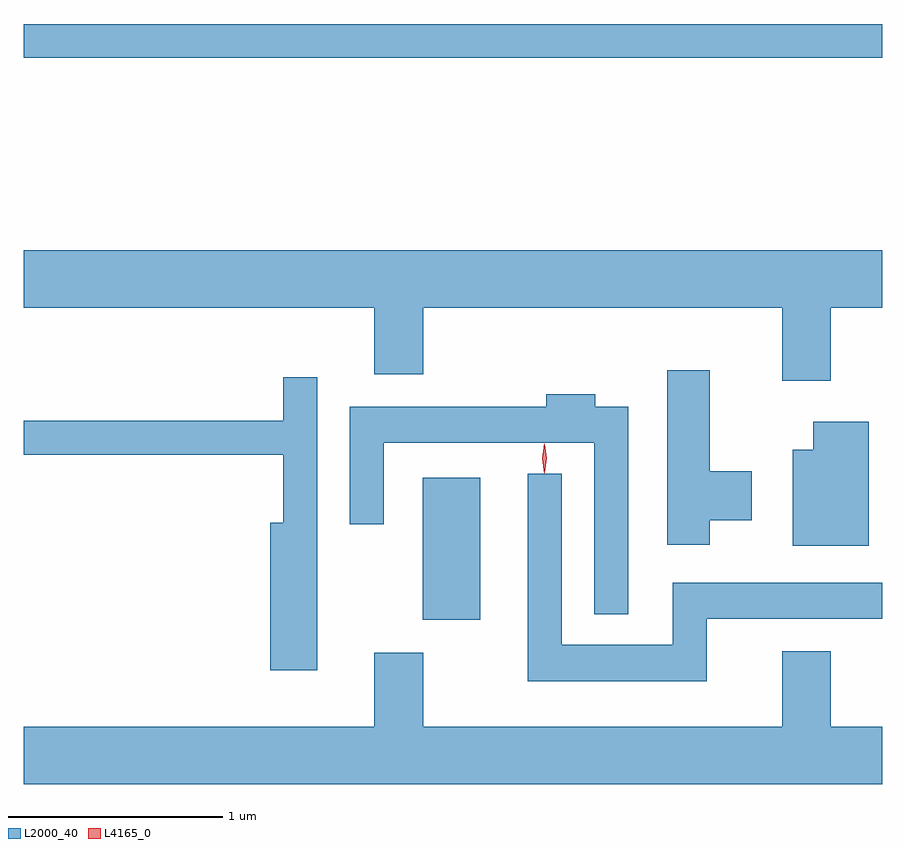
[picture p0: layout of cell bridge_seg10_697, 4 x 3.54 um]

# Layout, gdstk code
import gdstk
lib = gdstk.Library(unit=1e-6, precision=1e-09)
def R(c, l, rs):  # rectangles x0, y0, x1, y1
    for r in rs: c.add(gdstk.rectangle(r[:2], r[2:], *l))
def P(c, l, *ps):  # polygons
    for p in ps: c.add(gdstk.Polygon(p, *l))
L2000_40 = (2000, 40)
L4165_0 = (4165, 0)

bridge_seg10_697 = lib.new_cell('bridge_seg10_697')
R(bridge_seg10_697, L2000_40, [(949.346,2119.121,949.614,2119.784), (947.487,2121.741,951.487,2121.899)])
P(bridge_seg10_697, L2000_40, [(951.249,2120.576),(951.487,2120.576),(951.487,2120.844),(947.487,2120.844),(947.487,2120.576),(949.121,2120.576),(949.121,2120.266),(949.349,2120.266),(949.349,2120.576),(951.021,2120.576),(951.021,2120.236),(951.249,2120.236)],
  [(950.684,2119.586),(950.879,2119.586),(950.879,2119.814),(950.684,2119.814),(950.684,2120.284),(950.486,2120.284),(950.486,2119.471),(950.684,2119.471)],
  [(948.854,2120.253),(948.696,2120.253),(948.696,2120.049),(947.487,2120.049),(947.487,2119.891),(948.696,2119.891),(948.696,2119.574),(948.636,2119.574),(948.636,2118.886),(948.854,2118.886)],
  [(950.304,2120.114),(950.149,2120.114),(950.149,2120.174),(949.921,2120.174),(949.921,2120.114),(949.006,2120.114),(949.006,2119.568),(949.164,2119.568),(949.164,2119.946),(950.146,2119.946),(950.146,2119.148),(950.304,2119.148)],
  [(951.424,2120.044),(951.166,2120.044),(951.166,2119.914),(951.071,2119.914),(951.071,2119.466),(951.424,2119.466)],
  [(950.669,2119.126),(951.487,2119.126),(951.487,2119.294),(950.511,2119.294),(950.511,2119.004),(949.994,2119.004),(949.994,2119.803),(949.836,2119.803),(949.836,2118.836),(950.669,2118.836)],
  [(951.487,2118.624),(951.249,2118.624),(951.249,2118.974),(951.021,2118.974),(951.021,2118.624),(949.349,2118.624),(949.349,2118.969),(949.121,2118.969),(949.121,2118.624),(947.487,2118.624),(947.487,2118.356),(951.487,2118.356)])
P(bridge_seg10_697, L4165_0, [(949.913,2119.807),(949.913,2119.807),(949.903,2119.874),(949.913,2119.94),(949.913,2119.941),(949.914,2119.94),(949.923,2119.874),(949.914,2119.807)],
  [(949.913,2119.803),(949.912,2119.804),(949.903,2119.873),(949.912,2119.942),(949.913,2119.943),(949.913,2119.942),(949.923,2119.873),(949.913,2119.804)])

lib.write_gds('bridge_seg10_697.gds')
